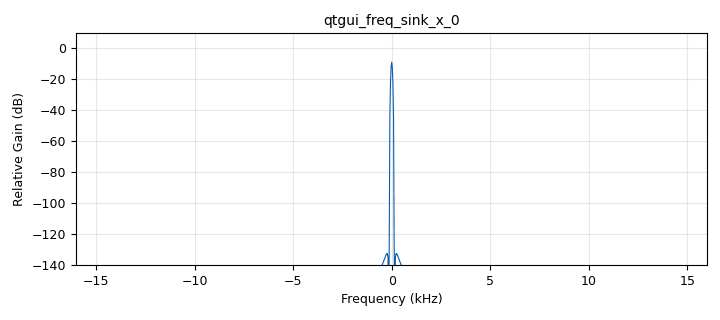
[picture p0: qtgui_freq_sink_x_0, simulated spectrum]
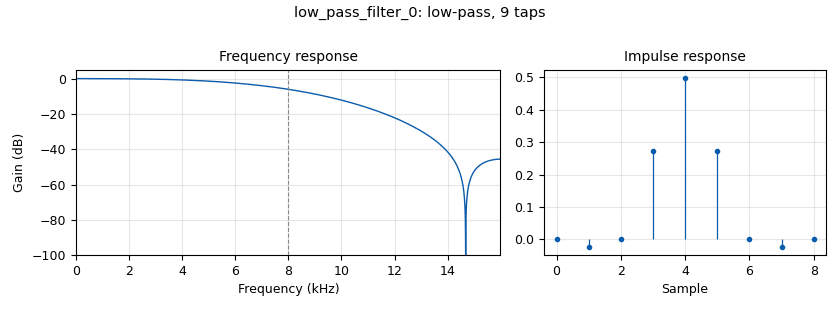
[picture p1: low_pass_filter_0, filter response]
options:
  parameters:
    generate_options: qt_gui
    id: low_pass_filter
    output_language: python
    title: Not titled yet
  states: {}

blocks:
- name: frequency
  id: variable_qtgui_range
  parameters:
    start: '-samp_rate/2'
    step: '1'
    stop: samp_rate/2
    value: '0'
    widget: slider
  states: {}
- name: samp_rate
  id: variable
  parameters:
    value: '32000'
  states: {}
- name: analog_sig_source_x_0
  id: analog_sig_source_x
  parameters:
    amp: '1'
    freq: frequency
    offset: '0'
    phase: '0'
    samp_rate: samp_rate
    type: complex
    waveform: analog.GR_COS_WAVE
  states: {}
- name: blocks_throttle_0
  id: blocks_throttle
  parameters:
    samples_per_second: samp_rate
    type: complex
  states: {}
- name: low_pass_filter_0
  id: low_pass_filter
  parameters:
    cutoff_freq: samp_rate/4
    decim: '1'
    gain: '1'
    samp_rate: samp_rate
    type: fir_filter_ccf
    width: samp_rate/4
    win: window.WIN_HAMMING
  states: {}
- name: qtgui_freq_sink_x_0
  id: qtgui_freq_sink_x
  parameters:
    bw: samp_rate
    fc: '0'
    fftsize: '1024'
    type: complex
  states: {}

connections:
- [analog_sig_source_x_0, '0', low_pass_filter_0, '0']
- [blocks_throttle_0, '0', qtgui_freq_sink_x_0, '0']
- [low_pass_filter_0, '0', blocks_throttle_0, '0']

metadata:
  file_format: 1
  grc_version: 3.10.5.1
